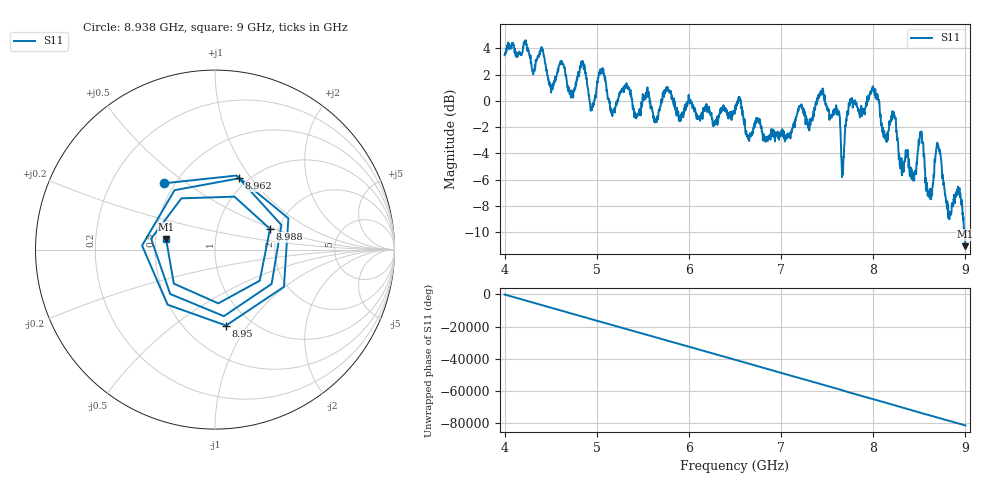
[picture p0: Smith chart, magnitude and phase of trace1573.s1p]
! Created with skrf 1.8.0 (http://scikit-rf.org).
# Hz S RI R 50.0
!freq ReS11 ImS11
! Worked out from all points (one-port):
!   1601 points, 4 GHz to 9 GHz, reference 50 ohm
!   lowest |S11| = -11.1 dB at 9 GHz (marker M1), VSWR 1.77, Z = 28.4 + j3.67 ohm
!   |S11| at or under -10 dB: 8.983777 GHz to 8.984596 GHz (819.6 kHz wide, 0.00912 % of centre); 8.989385 GHz to end of sweep
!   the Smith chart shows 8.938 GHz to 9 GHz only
!   S11 on the Smith chart (normalised r, x): 8.938 GHz: 0.44, +0.42; 8.95 GHz: 0.77, -0.80; 8.962 GHz: 0.91, +0.87; 8.988 GHz: 1.81, +0.47; 9 GHz: 0.57, +0.07
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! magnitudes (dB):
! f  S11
! 4 GHz  3.5
! 4.506 GHz  0.8
! 4.625 GHz  2.9
! 4.731 GHz  0.6
! 4.853 GHz  2.9
! 4.944 GHz  -0.6
! 5.047 GHz  2.3
! 5.162 GHz  -1.0
! 5.25 GHz  0.5
! 5.875 GHz  -1.0
! 6.5 GHz  -0.7
! 7.125 GHz  -2.1
! 7.441 GHz  0.8
! 7.616 GHz  -0.9
! 7.669 GHz  -5.1
! 7.75 GHz  0.1
! 8.006 GHz  0.7
! 8.375 GHz  -3.9
! 8.441 GHz  -5.7
! 8.519 GHz  -2.6
! 8.612 GHz  -7.0
! 8.706 GHz  -3.4
! 8.822 GHz  -8.9
! 8.938 GHz  -6.7
! 8.95 GHz  -7.4
! 8.962 GHz  -7.6
! 8.988 GHz  -9.7
! 9 GHz  -11.1
